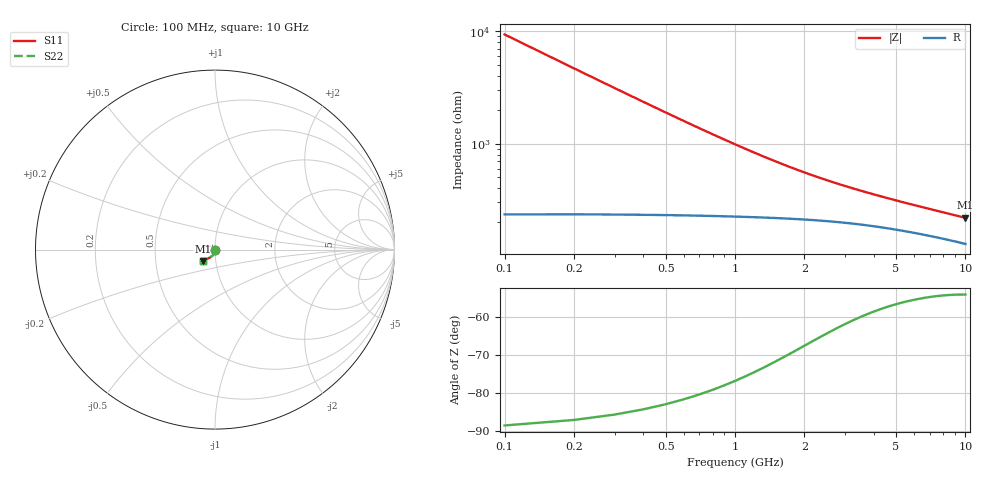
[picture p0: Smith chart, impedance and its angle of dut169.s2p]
! Touchstone file exported from HFSS 2024.1.0
!  File:  C:/UserFiles/LocalFiles/RDL_TSV_Batchsim/temp_TSV1_169_1778755901.aedt
!  Generated:  06:55:17 PM May 14, 2026
!  Design:  TSV1
!  Project:  temp_TSV1_169_1778755901
!  Setup:  Setup1
!  Solution:  Sweep
! Variables:
!  dtsv = 18.77um
!  hbump = 3um
!  htsv = 74.53um
!  lrdl = 252.1521522um
!  p = 40
!  p1 = 43.69um
!  t = 500um
!  trdl = 3um
!  wrdl = 24.89489489um
# GHz S MA R 50.000000
! Terminal data exported
! Port[1] = TSV22_T1
! Port[2] = TSV22_T2
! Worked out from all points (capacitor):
!   100 points, 100 MHz to 10 GHz, reference 50 ohm
!   read as one part in shunt: C = 170 fF near 100 MHz
!   lowest |Z| = 219 ohm at 10 GHz (marker M1)
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0.1  0.002433 -89.8  0.9998 -0.2  0.9998 -0.2  0.002433 -89.8
! Gamma 0 0 0 0
! Port Impedance 50 0 50 0
0.2  0.004893 -92.3  0.9996 -0.3  0.9996 -0.3  0.004893 -92.3
0.3  0.007328 -94.2  0.9993 -0.5  0.9993 -0.5  0.007328 -94.2
0.4  0.009734 -95.9  0.9988 -0.7  0.9988 -0.7  0.009734 -95.9
0.5  0.01211 -97.5  0.9981 -0.8  0.9981 -0.8  0.01211 -97.5
0.6  0.01444 -99.1  0.9974 -1.0  0.9974 -1.0  0.01444 -99.1
0.7  0.01672 -100.6  0.9966 -1.1  0.9966 -1.1  0.01672 -100.6
0.8  0.01895 -102.1  0.9957 -1.2  0.9957 -1.2  0.01895 -102.1
0.9  0.02112 -103.6  0.9947 -1.4  0.9947 -1.4  0.02112 -103.6
1.1  0.02528 -106.3  0.9926 -1.6  0.9926 -1.6  0.02528 -106.3
1.4  0.03103 -110.0  0.9892 -2.0  0.9892 -2.0  0.03103 -110.0
1.6  0.03453 -112.3  0.9868 -2.2  0.9868 -2.2  0.03453 -112.3
1.8  0.03779 -114.4  0.9844 -2.4  0.9844 -2.4  0.03779 -114.4
2.1  0.04223 -117.1  0.9809 -2.6  0.9809 -2.6  0.04223 -117.1
2.5  0.04744 -120.2  0.9764 -2.9  0.9764 -2.9  0.04744 -120.2
2.9  0.05198 -122.8  0.9722 -3.2  0.9722 -3.2  0.05198 -122.8
3.4  0.05692 -125.4  0.9676 -3.5  0.9676 -3.5  0.05692 -125.4
4.2  0.06361 -128.5  0.9612 -3.8  0.9612 -3.8  0.06361 -128.5
5.1  0.06993 -130.9  0.9552 -4.2  0.9552 -4.2  0.06993 -131.0
6.7  0.07921 -133.8  0.9466 -4.8  0.9466 -4.8  0.07922 -133.8
8.4  0.08731 -135.7  0.9395 -5.4  0.9395 -5.4  0.08731 -135.7
10  0.09382 -136.9  0.934 -6.0  0.934 -6.0  0.09383 -136.9
